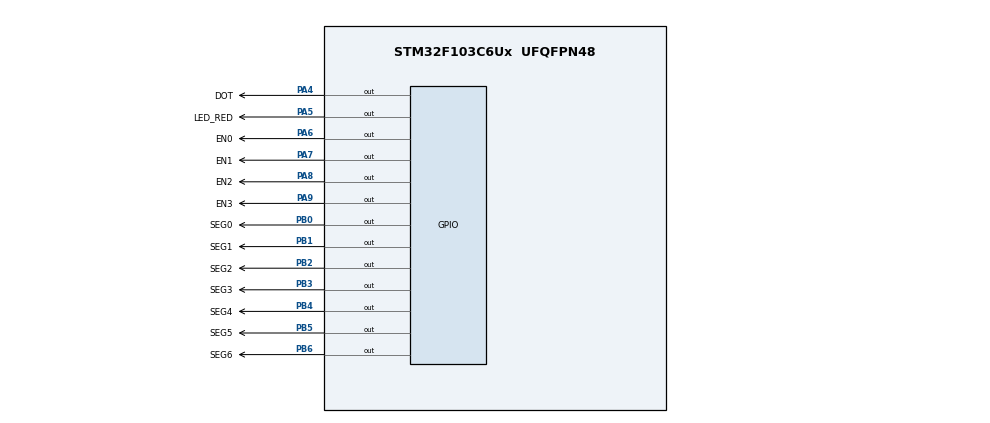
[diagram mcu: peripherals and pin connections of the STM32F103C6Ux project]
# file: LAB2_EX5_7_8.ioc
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Mcu.Family=STM32F1
Mcu.Name=STM32F103C6Ux
Mcu.Package=UFQFPN48
NVIC.PriorityGroup=NVIC_PRIORITYGROUP_4
NVIC.TIM2_IRQn=true\:0\:0\:false\:false\:true\:true\:true
PA4.GPIO_Label=DOT
PA4.Signal=GPIO_Output
PA5.GPIO_Label=LED_RED
PA5.Signal=GPIO_Output
PA6.GPIO_Label=EN0
PA6.Signal=GPIO_Output
PA7.GPIO_Label=EN1
PA7.Signal=GPIO_Output
PA8.GPIO_Label=EN2
PA8.Signal=GPIO_Output
PA9.GPIO_Label=EN3
PA9.Signal=GPIO_Output
PB0.GPIO_Label=SEG0
PB0.Signal=GPIO_Output
PB1.GPIO_Label=SEG1
PB1.Signal=GPIO_Output
PB2.GPIO_Label=SEG2
PB2.Signal=GPIO_Output
PB3.GPIO_Label=SEG3
PB3.Signal=GPIO_Output
PB4.GPIO_Label=SEG4
PB4.Signal=GPIO_Output
PB5.GPIO_Label=SEG5
PB5.Signal=GPIO_Output
PB6.GPIO_Label=SEG6
PB6.Signal=GPIO_Output
ProjectManager.HeapSize=0x200
ProjectManager.StackSize=0x400
ProjectManager.TargetToolchain=STM32CubeIDE
RCC.APB1Freq_Value=8000000
RCC.APB2Freq_Value=8000000
TIM2.Period=9
TIM2.Prescaler=7999
VP_SYS_VS_ND.Mode=No_Debug
VP_TIM2_VS_ClockSourceINT.Mode=Internal
board=custom

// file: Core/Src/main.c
/* USER CODE BEGIN Header */
/**
  ******************************************************************************
  * @file           : main.c
  * @brief          : Main program body
  ******************************************************************************
  * @attention
  *
  * <h2><center>&copy; Copyright (c) 2025 STMicroelectronics.
  * All rights reserved.</center></h2>
  *
  * This software component is licensed by ST under BSD 3-Clause license,
  * the "License"; You may not use this file except in compliance with the
  * License. You may obtain a copy of the License at:
  *                        opensource.org/licenses/BSD-3-Clause
  *
  ******************************************************************************
  */
/* USER CODE END Header */
#include "main.h"

/* USER CODE BEGIN Includes */
#include "software_timer.h"
/* USER CODE END Includes */

TIM_HandleTypeDef htim2;

/* USER CODE BEGIN PV */
unsigned char tbl7seg [] = {0xC0, 0xF9, 0xA4, 0xB0, 0x99, 0x92, 0x82, 0xF8, 0x80, 0x90};
//int currentLED = 0;
const int MAX_LED = 4;
int index_led = 0;
int led_buffer[4];
int hour = 23, minute = 59, second = 59;
/* USER CODE END PV */

void SystemClock_Config(void);
static void MX_GPIO_Init(void);
static void MX_TIM2_Init(void);

/* USER CODE BEGIN 0 */
void display7SEG(int num);
void update7SEG(int index);
void updateClockBuffer();
/* USER CODE END 0 */

int main(void)
{

  /* MCU Configuration--------------------------------------------------------*/

  /* Reset of all peripherals, Initializes the Flash interface and the Systick. */
  HAL_Init();

  /* Configure the system clock */
  SystemClock_Config();

  /* Initialize all configured peripherals */
  MX_GPIO_Init();
  MX_TIM2_Init();
  /* USER CODE BEGIN 2 */
  HAL_TIM_Base_Start_IT(&htim2);
  updateClockBuffer();
  /* USER CODE END 2 */

  /* Infinite loop */
  /* USER CODE BEGIN WHILE */
  setTimer1(100);
  setTimer2(50);
  setTimer3(100);
  setTimer4(100);
  while (1)
  {
	// Cập nhật giây, phút, giờ
	if (timer1_flag == 1) {
		setTimer1(100); // 1s lại cập nhật 1 lần
		second++;
		if (second >= 60) {
			second = 0;
			minute++;
		}
		if (minute >= 60) {
			minute = 0;
			hour++;
		}
		if (hour >= 24) {
			hour = 0;
		}
		updateClockBuffer();
	}

	// Quét LED liên tục (multiplex nhanh để hiển thị đồng thời 4 số)
	if (timer2_flag == 1) {
		setTimer2(50); // ~0.5s quét LED
		update7SEG(index_led);
		index_led = (index_led + 1) % MAX_LED;
	}

	// Blink DOT (PA4) và PA5
	if (timer3_flag == 1) {
		setTimer3(100); // 1s
		HAL_GPIO_TogglePin(LED_RED_GPIO_Port, LED_RED_Pin);
	}
	if (timer4_flag == 1) {
		setTimer4(100); // 1s
		HAL_GPIO_TogglePin(DOT_GPIO_Port, DOT_Pin);
	}
    /* USER CODE END WHILE */

  }
}

void SystemClock_Config(void)
{
  RCC_OscInitTypeDef RCC_OscInitStruct = {0};
  RCC_ClkInitTypeDef RCC_ClkInitStruct = {0};

  /** Initializes the RCC Oscillators according to the specified parameters
  * in the RCC_OscInitTypeDef structure.
  */
  RCC_OscInitStruct.OscillatorType = RCC_OSCILLATORTYPE_HSI;
  RCC_OscInitStruct.HSIState = RCC_HSI_ON;
  RCC_OscInitStruct.HSICalibrationValue = RCC_HSICALIBRATION_DEFAULT;
  RCC_OscInitStruct.PLL.PLLState = RCC_PLL_NONE;
  if (HAL_RCC_OscConfig(&RCC_OscInitStruct) != HAL_OK)
  {
    Error_Handler();
  }
  /** Initializes the CPU, AHB and APB buses clocks
  */
  RCC_ClkInitStruct.ClockType = RCC_CLOCKTYPE_HCLK|RCC_CLOCKTYPE_SYSCLK
                              |RCC_CLOCKTYPE_PCLK1|RCC_CLOCKTYPE_PCLK2;
  RCC_ClkInitStruct.SYSCLKSource = RCC_SYSCLKSOURCE_HSI;
  RCC_ClkInitStruct.AHBCLKDivider = RCC_SYSCLK_DIV1;
  RCC_ClkInitStruct.APB1CLKDivider = RCC_HCLK_DIV1;
  RCC_ClkInitStruct.APB2CLKDivider = RCC_HCLK_DIV1;

  if (HAL_RCC_ClockConfig(&RCC_ClkInitStruct, FLASH_LATENCY_0) != HAL_OK)
  {
    Error_Handler();
  }
}

static void MX_TIM2_Init(void)
{

  TIM_ClockConfigTypeDef sClockSourceConfig = {0};
  TIM_MasterConfigTypeDef sMasterConfig = {0};

  htim2.Instance = TIM2;
  htim2.Init.Prescaler = 7999;
  htim2.Init.CounterMode = TIM_COUNTERMODE_UP;
  htim2.Init.Period = 9;
  htim2.Init.ClockDivision = TIM_CLOCKDIVISION_DIV1;
  htim2.Init.AutoReloadPreload = TIM_AUTORELOAD_PRELOAD_DISABLE;
  if (HAL_TIM_Base_Init(&htim2) != HAL_OK)
  {
    Error_Handler();
  }
  sClockSourceConfig.ClockSource = TIM_CLOCKSOURCE_INTERNAL;
  if (HAL_TIM_ConfigClockSource(&htim2, &sClockSourceConfig) != HAL_OK)
  {
    Error_Handler();
  }
  sMasterConfig.MasterOutputTrigger = TIM_TRGO_RESET;
  sMasterConfig.MasterSlaveMode = TIM_MASTERSLAVEMODE_DISABLE;
  if (HAL_TIMEx_MasterConfigSynchronization(&htim2, &sMasterConfig) != HAL_OK)
  {
    Error_Handler();
  }

}

static void MX_GPIO_Init(void)
{
  GPIO_InitTypeDef GPIO_InitStruct = {0};

  /* GPIO Ports Clock Enable */
  __HAL_RCC_GPIOA_CLK_ENABLE();
  __HAL_RCC_GPIOB_CLK_ENABLE();

  /*Configure GPIO pin Output Level */
  HAL_GPIO_WritePin(GPIOA, DOT_Pin|LED_RED_Pin|EN0_Pin|EN1_Pin
                          |EN2_Pin|EN3_Pin, GPIO_PIN_RESET);

  /*Configure GPIO pin Output Level */
  HAL_GPIO_WritePin(GPIOB, SEG0_Pin|SEG1_Pin|SEG2_Pin|SEG3_Pin
                          |SEG4_Pin|SEG5_Pin|SEG6_Pin, GPIO_PIN_RESET);

  /*Configure GPIO pins : DOT_Pin LED_RED_Pin EN0_Pin EN1_Pin
                           EN2_Pin EN3_Pin */
  GPIO_InitStruct.Pin = DOT_Pin|LED_RED_Pin|EN0_Pin|EN1_Pin
                          |EN2_Pin|EN3_Pin;
  GPIO_InitStruct.Mode = GPIO_MODE_OUTPUT_PP;
  GPIO_InitStruct.Pull = GPIO_NOPULL;
  GPIO_InitStruct.Speed = GPIO_SPEED_FREQ_LOW;
  HAL_GPIO_Init(GPIOA, &GPIO_InitStruct);

  /*Configure GPIO pins : SEG0_Pin SEG1_Pin SEG2_Pin SEG3_Pin
                           SEG4_Pin SEG5_Pin SEG6_Pin */
  GPIO_InitStruct.Pin = SEG0_Pin|SEG1_Pin|SEG2_Pin|SEG3_Pin
                          |SEG4_Pin|SEG5_Pin|SEG6_Pin;
  GPIO_InitStruct.Mode = GPIO_MODE_OUTPUT_PP;
  GPIO_InitStruct.Pull = GPIO_NOPULL;
  GPIO_InitStruct.Speed = GPIO_SPEED_FREQ_LOW;
  HAL_GPIO_Init(GPIOB, &GPIO_InitStruct);

}

/* USER CODE BEGIN 4 */
void HAL_TIM_PeriodElapsedCallback(TIM_HandleTypeDef *htim) {
	timerRun();
}

void display7SEG(int num) {
    if (num < 0 || num > 9) return;
    GPIOB->ODR = (GPIOB->ODR & 0xFF80) | tbl7seg[num];
}

void update7SEG(int index) {
    // Tắt tất cả LED trước (common anode, OFF = SET)
    HAL_GPIO_WritePin(GPIOA, EN0_Pin|EN1_Pin|EN2_Pin|EN3_Pin, GPIO_PIN_SET);

    switch (index) {
        case 0:
            display7SEG(led_buffer[0]);
            HAL_GPIO_WritePin(GPIOA, EN0_Pin, GPIO_PIN_RESET); // bật LED1
            break;
        case 1:
            display7SEG(led_buffer[1]);
            HAL_GPIO_WritePin(GPIOA, EN1_Pin, GPIO_PIN_RESET); // bật LED2
            break;
        case 2:
            display7SEG(led_buffer[2]);
            HAL_GPIO_WritePin(GPIOA, EN2_Pin, GPIO_PIN_RESET); // bật LED3
            break;
        case 3:
            display7SEG(led_buffer[3]);
            HAL_GPIO_WritePin(GPIOA, EN3_Pin, GPIO_PIN_RESET); // bật LED4
            break;
        default:
            break;
    }
}

void updateClockBuffer() {
    // Giờ
    led_buffer[0] = hour / 10;
    led_buffer[1] = hour % 10;

    // Phút
    led_buffer[2] = minute / 10;
    led_buffer[3] = minute % 10;
}

/* USER CODE END 4 */

void Error_Handler(void)
{
  __disable_irq();
  while (1)
  {
  }
}

/************************ (C) COPYRIGHT STMicroelectronics *****END OF FILE****/
